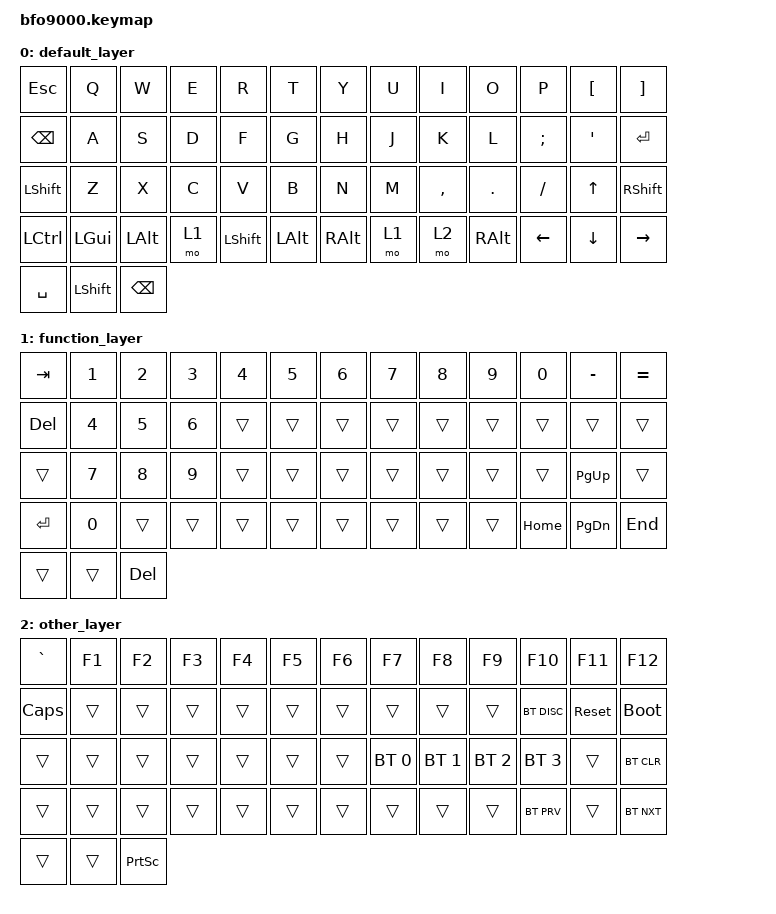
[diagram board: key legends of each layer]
Skip to content
hello2kun
/
zmk-config

Type / to search

Code
Issues
Pull requests
Actions
Projects
Wiki
Security
Insights
Settings
Files
Go to file
t
.github
boards
config
YG4Teeth.conf
YG4Teeth.keymap
west.yml
zephyr
build.yaml
Editing YG4Teeth.keymap in zmk-config
Breadcrumbszmk-config/config
/
YG4Teeth.keymap
in
master

Edit

Preview
Indent mode

Spaces
Indent size

2
Line wrap mode

No wrap
Editing YG4Teeth.keymap file contents
Selection deleted
1
2
3
4
5
6
7
8
9
10
11
12
13
14
15
16
17
18
19
20
21
22
23
24
25
26
27
28
29
30
31
32
33
34
35
36
37
38
39
40
41
42
43
44
45
46
47
48
49
50
51
52
53
54
55
56
57
58
59
60
61
62
63
64
65
/*
 * Copyright (c) 2020 The ZMK Contributors
 *
 * SPDX-License-Identifier: MIT
pin matrix changed
 */

#include <behaviors.dtsi>
#include <dt-bindings/zmk/keys.h>
#include <dt-bindings/zmk/bt.h>

#define DEFAULT_LAYER  0
#define FUNCTION_LAYER 1
#define OTHER_LAYER    2

/ {
      behaviors {
        ht: hold_tap {
            compatible = "zmk,behavior-hold-tap";
            #binding-cells = <2>;
            tapping-term-ms = <200>;
            flavor = "tap-preferred";
            bindings = <&kp>, <&kp>;
        };
    };

    keymap {
        compatible = "zmk,keymap";

        default_layer {
            bindings = <
//C0             C1        C2       C3        C4         C5        C6        C7        C8         C9         C10         C11         C12        
&kp ESC          &kp Q     &kp W    &kp E     &kp R      &kp T     &kp Y     &kp U     &kp I      &kp O      &kp P       &kp LBKT    &kp RBKT 
&kp BSPC         &kp A     &kp S    &kp D     &kp F      &kp G     &kp H     &kp J     &kp K      &kp L      &kp SEMI    &kp APOS    &kp RET
&kp LSHFT        &kp Z     &kp X    &kp C     &kp V      &kp B     &kp N     &kp M     &kp COMMA  &kp DOT    &kp FSLH    &kp UP      &kp RSHFT
&kp LCTRL        &kp LGUI  &kp LALT &mo 1     &kp LSHFT  &kp LALT  &kp RALT  &mo 1     &mo 2      &kp RALT   &kp LEFT    &kp DOWN    &kp RIGHT
&kp SPACE        &kp LSHFT &kp BSPC
            >;
        };

        function_layer {
            bindings = <
//C0        C1        C2        C3        C4        C5        C6        C7        C8         C9        C10        C11          C12      
&kp TAB     &kp N1    &kp N2    &kp N3    &kp N4    &kp N5    &kp N6    &kp N7    &kp N8     &kp N9    &kp N0     &kp MINUS    &kp EQUAL 
&kp DEL     &kp N4    &kp N5    &kp N6    &trans    &trans    &trans    &trans    &trans     &trans    &trans     &trans       &trans
&trans      &kp N7    &kp N8    &kp N9    &trans    &trans    &trans    &trans    &trans     &trans    &trans     &kp PG_UP    &trans
&kp RET     &kp N0    &trans    &trans    &trans    &trans    &trans    &trans    &trans     &trans    &kp HOME   &kp PG_DN    &kp END
&trans      &trans    &kp DEL
            >;
        };

        other_layer {
            bindings = <
//C0      C1         C2         C3        C4       C5       C6         C7           C8           C9           C10           C11            C12     
&kp GRAVE &kp F1     &kp F2     &kp F3    &kp F4   &kp F5   &kp F6     &kp F7       &kp F8       &kp F9       &kp F10       &kp F11        &kp F12   
&kp CAPS  &trans     &trans     &trans    &trans   &trans   &trans     &trans       &trans       &trans       &bt BT_DISC   &sys_reset     &bootloader
&trans    &trans     &trans     &trans    &trans   &trans   &trans     &bt BT_SEL 0 &bt BT_SEL 1 &bt BT_SEL 2 &bt BT_SEL 3  &trans         &bt BT_CLR
&trans    &trans     &trans     &trans    &trans   &trans   &trans     &trans       &trans       &trans       &bt BT_PRV    &trans         &bt BT_NXT
&trans    &trans     &kp PSCRN
            >;
        };

    };
}; 

Use Control + Shift + m to toggle the tab key moving focus. Alternatively, use esc then tab to move to the next interactive element on the page.
Editing zmk-config/config/YG4Teeth.keymap at master · hello2kun/zmk-config 
